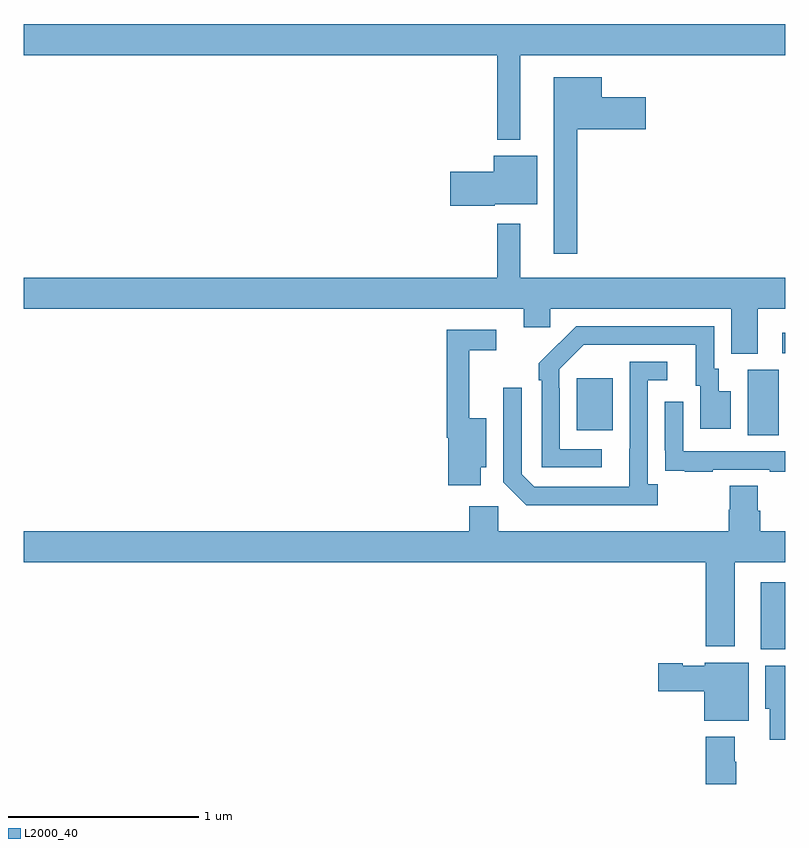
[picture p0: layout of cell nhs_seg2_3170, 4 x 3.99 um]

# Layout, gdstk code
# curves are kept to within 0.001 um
import gdstk
lib = gdstk.Library(unit=1e-6, precision=1e-09)
def R(c, l, rs):  # rectangles x0, y0, x1, y1
    for r in rs: c.add(gdstk.rectangle(r[:2], r[2:], *l))
def P(c, l, *ps):  # polygons
    for p in ps: c.add(gdstk.Polygon(p, *l))
L2000_40 = (2000, 40)

nhs_seg2_3170 = lib.new_cell('nhs_seg2_3170')
R(nhs_seg2_3170, L2000_40, [(280.871,652.508,281,652.861), (280.802,653.632,280.966,653.976), (279.905,653.657,280.093,653.932), (280.983,654.063,281,654.169)])
P(nhs_seg2_3170, L2000_40, [(279.607,655.628),(281,655.628),(281,655.792),(277,655.792),(277,655.628),(279.486,655.628),(279.486,655.184),(279.607,655.184)],
  [(279.907,655.238),(280.267,655.238),(280.267,655.408),(280.036,655.408),(280.036,655.513),(279.785,655.513),(279.785,654.585),(279.907,654.585)],
  [(279.474,654.845),(279.697,654.845),(279.697,655.099),(279.47,655.099),(279.47,655.016),(279.24,655.016),(279.24,654.838),(279.474,654.838)],
  [(280.855,654.296),(281,654.296),(281,654.46),(279.607,654.46),(279.607,654.742),(279.486,654.742),(279.486,654.46),(277,654.46),(277,654.296),(279.626,654.296),(279.626,654.198),(279.765,654.198),(279.765,654.296),(280.715,654.296),(280.715,654.061),(280.855,654.061)],
  [(280.036,653.559),(279.816,653.559),(279.816,653.879),(279.813,653.879),(279.813,653.979),(279.942,654.108),(280.529,654.108),(280.529,653.892),(280.553,653.892),(280.553,653.667),(280.714,653.667),(280.714,653.863),(280.651,653.863),(280.651,653.982),(280.626,653.982),(280.626,654.204),(279.902,654.204),(279.705,654.009),(279.705,653.921),(279.72,653.921),(279.72,653.463),(280.036,653.463)],
  [(279.4,653.465),(279.43,653.465),(279.43,653.722),(279.341,653.722),(279.341,654.078),(279.481,654.078),(279.481,654.186),(279.223,654.186),(279.223,653.618),(279.23,653.618),(279.23,653.37),(279.4,653.37)],
  [(280.33,653.374),(280.278,653.374),(280.278,653.922),(280.381,653.922),(280.381,654.018),(280.182,654.018),(280.181,653.361),(279.681,653.361),(279.615,653.427),(279.615,653.881),(279.519,653.881),(279.519,653.385),(279.64,653.264),(280.33,653.264)],
  [(280.619,653.451),(280.919,653.451),(280.919,653.439),(281,653.439),(281,653.547),(280.464,653.547),(280.464,653.809),(280.368,653.809),(280.368,653.554),(280.369,653.554),(280.369,653.445),(280.471,653.445),(280.471,653.439),(280.619,653.439)],
  [(280.735,652.964),(281,652.964),(281,653.128),(280.868,653.128),(280.868,653.234),(280.855,653.234),(280.855,653.366),(280.708,653.366),(280.708,653.241),(280.703,653.241),(280.703,653.128),(279.492,653.128),(279.492,653.26),(279.341,653.26),(279.341,653.128),(277,653.128),(277,652.964),(280.583,652.964),(280.583,652.523),(280.735,652.523)],
  [(280.807,652.438),(280.578,652.438),(280.578,652.42),(280.461,652.42),(280.461,652.433),(280.332,652.433),(280.332,652.286),(280.574,652.286),(280.574,652.133),(280.807,652.133)],
  [(281,652.42),(280.895,652.42),(280.895,652.194),(280.919,652.194),(280.919,652.032),(281,652.032)],
  [(280.743,651.917),(280.735,651.917),(280.735,652.048),(280.583,652.048),(280.583,651.8),(280.743,651.8)])

lib.write_gds('nhs_seg2_3170.gds')
